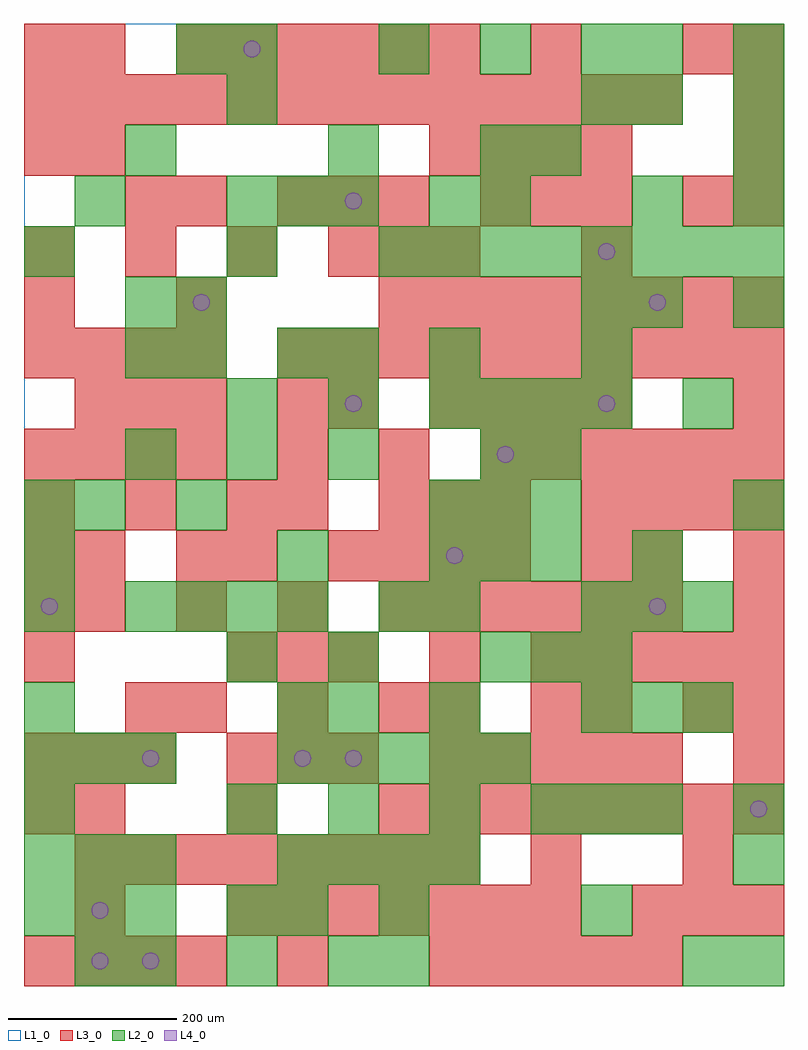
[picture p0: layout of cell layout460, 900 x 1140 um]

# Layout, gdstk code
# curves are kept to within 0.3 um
import gdstk
lib = gdstk.Library(unit=1e-6, precision=1e-09)
def R(c, l, rs):  # rectangles x0, y0, x1, y1
    for r in rs: c.add(gdstk.rectangle(r[:2], r[2:], *l))
def A(c, l, x, y, w, h, nx, ny, dx, dy):  # array of equal rectangles
    R(c, l, [(x+i*dx, y+j*dy, x+i*dx+w, y+j*dy+h) for i in range(nx) for j in range(ny)])
def P(c, l, *ps):  # polygons
    for p in ps: c.add(gdstk.Polygon(p, *l))
L1_0 = (1, 0)
L2_0 = (2, 0)
L3_0 = (3, 0)
L4_0 = (4, 0)

layout460 = lib.new_cell('layout460')
R(layout460, L1_0, [(0,0,900,1140)])
A(layout460, L2_0, 120, 0, 60, 60, 3, 2, 120, 600)
A(layout460, L2_0, 0, 60, 60, 60, 3, 2, 60, 60)
A(layout460, L2_0, 300, 120, 60, 60, 4, 1, 60, 0)
A(layout460, L2_0, 0, 180, 60, 60, 1, 3, 0, 120)
A(layout460, L2_0, 240, 180, 60, 60, 4, 1, 120, 0)
A(layout460, L2_0, 720, 180, 60, 60, 1, 3, 0, 300)
A(layout460, L2_0, 0, 240, 60, 60, 3, 1, 60, 0)
A(layout460, L2_0, 300, 240, 60, 60, 5, 1, 60, 0)
A(layout460, L2_0, 660, 300, 60, 60, 3, 2, 60, 120)
A(layout460, L2_0, 540, 360, 60, 60, 3, 2, 60, 300)
A(layout460, L2_0, 120, 420, 60, 60, 4, 1, 60, 0)
A(layout460, L2_0, 480, 480, 60, 60, 3, 2, 60, 60)
A(layout460, L2_0, 240, 660, 60, 60, 3, 1, 120, 0)
A(layout460, L2_0, 420, 840, 60, 60, 8, 1, 60, 0)
A(layout460, L2_0, 240, 900, 60, 60, 3, 1, 60, 0)
A(layout460, L2_0, 840, 900, 60, 60, 1, 4, 0, 60)
A(layout460, L2_0, 420, 1080, 60, 60, 3, 1, 120, 0)
R(layout460, L2_0, [(60,0,120,60), (420,0,480,60), (780,0,840,60), (840,0,900,60), (240,60,300,120), (300,60,360,120), (420,60,480,120), (660,60,720,120), (840,120,900,180), (660,180,720,240), (840,180,900,240), (300,300,360,360), (360,300,420,360), (480,300,540,360), (240,360,300,420), (360,360,420,420), (420,420,480,480), (480,420,540,480), (0,480,60,540), (300,480,360,540), (0,540,60,600), (60,540,120,600), (180,540,240,600), (840,540,900,600), (540,600,600,660), (600,600,660,660), (780,660,840,720), (120,720,180,780), (180,720,240,780), (300,720,360,780), (360,720,420,780), (480,720,540,780), (660,720,720,780), (120,780,180,840), (180,780,240,840), (660,780,720,840), (840,780,900,840), (0,840,60,900), (240,840,300,900), (60,900,120,960), (480,900,540,960), (540,900,600,960), (720,900,780,960), (120,960,180,1020), (360,960,420,1020), (540,960,600,1020), (600,960,660,1020), (240,1020,300,1080), (660,1020,720,1080), (720,1020,780,1080), (180,1080,240,1140), (240,1080,300,1140), (720,1080,780,1140)])
A(layout460, L3_0, 0, 0, 60, 60, 4, 2, 60, 600)
A(layout460, L3_0, 480, 0, 60, 60, 5, 2, 60, 240)
A(layout460, L3_0, 240, 60, 60, 60, 7, 1, 60, 0)
A(layout460, L3_0, 720, 60, 60, 60, 3, 1, 60, 0)
A(layout460, L3_0, 60, 120, 60, 60, 8, 1, 60, 0)
A(layout460, L3_0, 60, 180, 60, 60, 3, 1, 180, 0)
A(layout460, L3_0, 480, 180, 60, 60, 7, 1, 60, 0)
A(layout460, L3_0, 0, 240, 60, 60, 3, 1, 60, 0)
A(layout460, L3_0, 240, 240, 60, 60, 3, 2, 60, 120)
A(layout460, L3_0, 180, 300, 60, 60, 3, 1, 120, 0)
A(layout460, L3_0, 0, 360, 60, 60, 1, 3, 0, 60)
A(layout460, L3_0, 600, 360, 60, 60, 5, 2, 60, 240)
A(layout460, L3_0, 60, 420, 60, 60, 4, 1, 120, 0)
A(layout460, L3_0, 480, 420, 60, 60, 5, 1, 60, 0)
A(layout460, L3_0, 360, 480, 60, 60, 4, 1, 60, 0)
A(layout460, L3_0, 0, 540, 60, 60, 3, 1, 120, 0)
A(layout460, L3_0, 420, 540, 60, 60, 3, 1, 60, 0)
A(layout460, L3_0, 660, 540, 60, 60, 4, 1, 60, 0)
A(layout460, L3_0, 300, 600, 60, 60, 3, 1, 120, 0)
A(layout460, L3_0, 60, 660, 60, 60, 3, 1, 60, 0)
A(layout460, L3_0, 480, 660, 60, 60, 4, 2, 60, 300)
A(layout460, L3_0, 0, 720, 60, 60, 4, 1, 60, 0)
A(layout460, L3_0, 300, 720, 60, 60, 10, 1, 60, 0)
A(layout460, L3_0, 420, 780, 60, 60, 8, 1, 60, 0)
A(layout460, L3_0, 0, 840, 60, 60, 4, 1, 120, 0)
A(layout460, L3_0, 300, 900, 60, 60, 3, 1, 60, 0)
A(layout460, L3_0, 540, 900, 60, 60, 3, 1, 60, 0)
A(layout460, L3_0, 840, 900, 60, 60, 1, 4, 0, 60)
A(layout460, L3_0, 0, 1020, 60, 60, 13, 1, 60, 0)
A(layout460, L3_0, 180, 1080, 60, 60, 6, 1, 60, 0)
R(layout460, L3_0, [(300,0,360,60), (60,60,120,120), (600,120,660,180), (780,120,840,180), (0,180,60,240), (840,240,900,300), (120,300,180,360), (480,300,540,360), (600,300,660,360), (660,300,720,360), (780,300,840,360), (840,300,900,360), (480,360,540,420), (840,420,900,480), (60,480,120,540), (180,480,240,540), (240,480,300,540), (660,480,720,540), (720,480,780,540), (840,480,900,540), (300,540,360,600), (300,660,360,720), (360,660,420,720), (840,660,900,720), (0,780,60,840), (180,780,240,840), (420,840,480,900), (480,840,540,900), (660,840,720,900), (120,900,180,960), (180,900,240,960), (780,900,840,960), (0,960,60,1020), (60,960,120,1020), (0,1080,60,1140), (60,1080,120,1140), (600,1080,660,1140), (780,1080,840,1140)])
P(layout460, L4_0, [(40,450),(39.239,453.827),(37.071,457.071),(33.827,459.239),(30,460),(26.173,459.239),(22.929,457.071),(20.761,453.827),(20,450),(20.761,446.173),(22.929,442.929),(26.173,440.761),(30,440),(33.827,440.761),(37.071,442.929),(39.239,446.173)],
  [(100,30),(99.239,33.827),(97.071,37.071),(93.827,39.239),(90,40),(86.173,39.239),(82.929,37.071),(80.761,33.827),(80,30),(80.761,26.173),(82.929,22.929),(86.173,20.761),(90,20),(93.827,20.761),(97.071,22.929),(99.239,26.173)],
  [(100,90),(99.239,93.827),(97.071,97.071),(93.827,99.239),(90,100),(86.173,99.239),(82.929,97.071),(80.761,93.827),(80,90),(80.761,86.173),(82.929,82.929),(86.173,80.761),(90,80),(93.827,80.761),(97.071,82.929),(99.239,86.173)],
  [(160,30),(159.239,33.827),(157.071,37.071),(153.827,39.239),(150,40),(146.173,39.239),(142.929,37.071),(140.761,33.827),(140,30),(140.761,26.173),(142.929,22.929),(146.173,20.761),(150,20),(153.827,20.761),(157.071,22.929),(159.239,26.173)],
  [(160,270),(159.239,273.827),(157.071,277.071),(153.827,279.239),(150,280),(146.173,279.239),(142.929,277.071),(140.761,273.827),(140,270),(140.761,266.173),(142.929,262.929),(146.173,260.761),(150,260),(153.827,260.761),(157.071,262.929),(159.239,266.173)],
  [(220,810),(219.239,813.827),(217.071,817.071),(213.827,819.239),(210,820),(206.173,819.239),(202.929,817.071),(200.761,813.827),(200,810),(200.761,806.173),(202.929,802.929),(206.173,800.761),(210,800),(213.827,800.761),(217.071,802.929),(219.239,806.173)],
  [(280,1110),(279.239,1113.827),(277.071,1117.071),(273.827,1119.239),(270,1120),(266.173,1119.239),(262.929,1117.071),(260.761,1113.827),(260,1110),(260.761,1106.173),(262.929,1102.929),(266.173,1100.761),(270,1100),(273.827,1100.761),(277.071,1102.929),(279.239,1106.173)],
  [(340,270),(339.239,273.827),(337.071,277.071),(333.827,279.239),(330,280),(326.173,279.239),(322.929,277.071),(320.761,273.827),(320,270),(320.761,266.173),(322.929,262.929),(326.173,260.761),(330,260),(333.827,260.761),(337.071,262.929),(339.239,266.173)],
  [(400,270),(399.239,273.827),(397.071,277.071),(393.827,279.239),(390,280),(386.173,279.239),(382.929,277.071),(380.761,273.827),(380,270),(380.761,266.173),(382.929,262.929),(386.173,260.761),(390,260),(393.827,260.761),(397.071,262.929),(399.239,266.173)],
  [(400,690),(399.239,693.827),(397.071,697.071),(393.827,699.239),(390,700),(386.173,699.239),(382.929,697.071),(380.761,693.827),(380,690),(380.761,686.173),(382.929,682.929),(386.173,680.761),(390,680),(393.827,680.761),(397.071,682.929),(399.239,686.173)],
  [(400,930),(399.239,933.827),(397.071,937.071),(393.827,939.239),(390,940),(386.173,939.239),(382.929,937.071),(380.761,933.827),(380,930),(380.761,926.173),(382.929,922.929),(386.173,920.761),(390,920),(393.827,920.761),(397.071,922.929),(399.239,926.173)],
  [(520,510),(519.239,513.827),(517.071,517.071),(513.827,519.239),(510,520),(506.173,519.239),(502.929,517.071),(500.761,513.827),(500,510),(500.761,506.173),(502.929,502.929),(506.173,500.761),(510,500),(513.827,500.761),(517.071,502.929),(519.239,506.173)],
  [(580,630),(579.239,633.827),(577.071,637.071),(573.827,639.239),(570,640),(566.173,639.239),(562.929,637.071),(560.761,633.827),(560,630),(560.761,626.173),(562.929,622.929),(566.173,620.761),(570,620),(573.827,620.761),(577.071,622.929),(579.239,626.173)],
  [(700,690),(699.239,693.827),(697.071,697.071),(693.827,699.239),(690,700),(686.173,699.239),(682.929,697.071),(680.761,693.827),(680,690),(680.761,686.173),(682.929,682.929),(686.173,680.761),(690,680),(693.827,680.761),(697.071,682.929),(699.239,686.173)],
  [(700,870),(699.239,873.827),(697.071,877.071),(693.827,879.239),(690,880),(686.173,879.239),(682.929,877.071),(680.761,873.827),(680,870),(680.761,866.173),(682.929,862.929),(686.173,860.761),(690,860),(693.827,860.761),(697.071,862.929),(699.239,866.173)],
  [(760,450),(759.239,453.827),(757.071,457.071),(753.827,459.239),(750,460),(746.173,459.239),(742.929,457.071),(740.761,453.827),(740,450),(740.761,446.173),(742.929,442.929),(746.173,440.761),(750,440),(753.827,440.761),(757.071,442.929),(759.239,446.173)],
  [(760,810),(759.239,813.827),(757.071,817.071),(753.827,819.239),(750,820),(746.173,819.239),(742.929,817.071),(740.761,813.827),(740,810),(740.761,806.173),(742.929,802.929),(746.173,800.761),(750,800),(753.827,800.761),(757.071,802.929),(759.239,806.173)],
  [(880,210),(879.239,213.827),(877.071,217.071),(873.827,219.239),(870,220),(866.173,219.239),(862.929,217.071),(860.761,213.827),(860,210),(860.761,206.173),(862.929,202.929),(866.173,200.761),(870,200),(873.827,200.761),(877.071,202.929),(879.239,206.173)])

lib.write_gds('layout460.gds')
